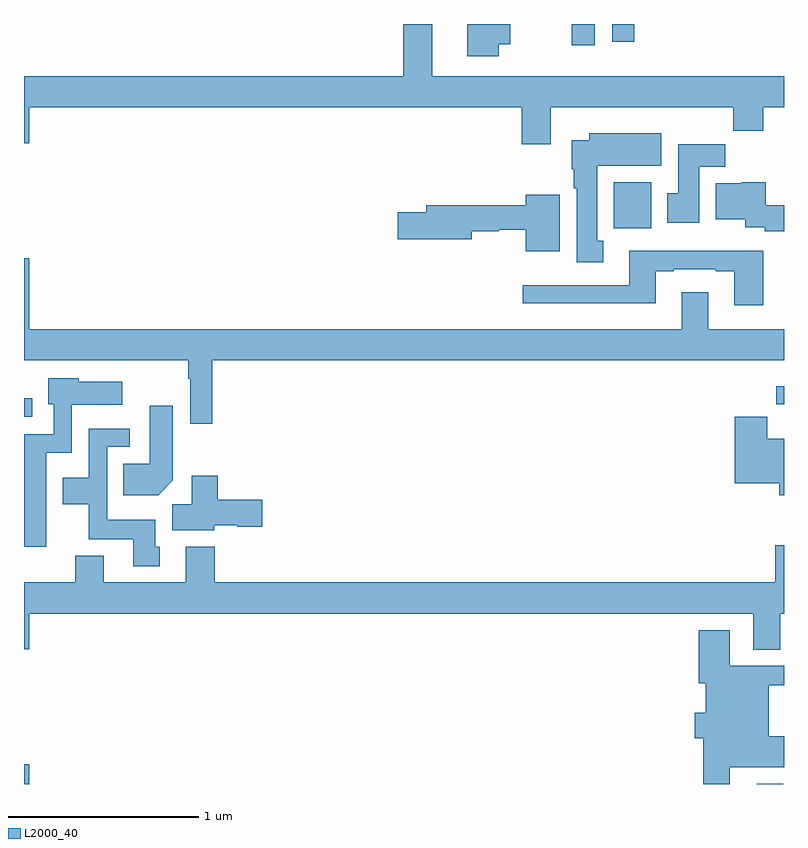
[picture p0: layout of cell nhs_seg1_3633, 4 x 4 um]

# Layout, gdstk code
import gdstk
lib = gdstk.Library(unit=1e-6, precision=1e-09)
def R(c, l, rs):  # rectangles x0, y0, x1, y1
    for r in rs: c.add(gdstk.rectangle(r[:2], r[2:], *l))
def P(c, l, *ps):  # polygons
    for p in ps: c.add(gdstk.Polygon(p, *l))
L2000_40 = (2000, 40)

nhs_seg1_3633 = lib.new_cell('nhs_seg1_3633')
R(nhs_seg1_3633, L2000_40, [(309,520.199,309.028,520.303), (312.857,520.199,312.997,520.201), (309,522.132,309.043,522.229), (312.96,522.197,313,522.292), (312.104,523.124,312.301,523.366), (311.882,524.088,312.004,524.199), (312.096,524.106,312.212,524.199)])
P(nhs_seg1_3633, L2000_40, [(311.773,523.76),(312.733,523.76),(312.733,523.636),(312.89,523.636),(312.89,523.76),(313,523.76),(313,523.924),(311.149,523.924),(311.149,524.199),(310.997,524.199),(310.997,523.924),(309,523.924),(309,523.572),(309.028,523.572),(309.028,523.76),(311.621,523.76),(311.621,523.566),(311.773,523.566)],
  [(311.499,524.093),(311.56,524.093),(311.56,524.199),(311.333,524.199),(311.333,524.028),(311.499,524.028)],
  [(312.049,523.058),(312.016,523.058),(312.016,523.454),(312.355,523.454),(312.355,523.624),(311.975,523.624),(311.975,523.588),(311.882,523.588),(311.882,523.434),(311.894,523.434),(311.894,523.334),(311.909,523.334),(311.909,522.945),(312.049,522.945)],
  [(312.553,523.448),(312.692,523.448),(312.692,523.566),(312.443,523.566),(312.443,523.308),(312.386,523.308),(312.386,523.152),(312.553,523.152)],
  [(313,523.244),(312.904,523.244),(312.904,523.366),(312.774,523.366),(312.774,523.36),(312.641,523.36),(312.641,523.172),(312.795,523.172),(312.795,523.128),(312.898,523.128),(312.898,523.108),(313,523.108)],
  [(311.821,523.3),(311.642,523.3),(311.642,523.244),(311.117,523.244),(311.117,523.208),(310.968,523.208),(310.968,523.066),(311.356,523.066),(311.356,523.108),(311.499,523.108),(311.499,523.116),(311.642,523.116),(311.642,523.004),(311.821,523.004)],
  [(312.89,523.006),(312.185,523.006),(312.185,522.825),(311.625,522.825),(311.625,522.728),(312.325,522.728),(312.325,522.897),(312.421,522.897),(312.421,522.909),(312.641,522.909),(312.641,522.897),(312.737,522.897),(312.737,522.72),(312.89,522.72)],
  [(309.992,522.428),(313,522.428),(313,522.592),(312.601,522.592),(312.601,522.787),(312.461,522.787),(312.461,522.592),(309.028,522.592),(309.028,522.967),(309,522.967),(309,522.428),(309.864,522.428),(309.864,522.332),(309.876,522.332),(309.876,522.096),(309.992,522.096)],
  [(309.118,521.942),(309.252,521.942),(309.252,522.194),(309.517,522.194),(309.517,522.316),(309.288,522.316),(309.288,522.334),(309.128,522.334),(309.128,522.198),(309.156,522.198),(309.156,522.039),(309,522.039),(309,521.448),(309.118,521.448)],
  [(309.784,521.798),(309.784,522.19),(309.662,522.19),(309.662,521.884),(309.523,521.884),(309.523,521.72),(309.706,521.72)],
  [(313,522.016),(312.913,522.016),(312.913,522.132),(312.74,522.132),(312.74,521.783),(312.974,521.783),(312.974,521.72),(313,521.72)],
  [(309.715,521.448),(309.691,521.448),(309.691,521.59),(309.438,521.59),(309.438,521.973),(309.556,521.973),(309.556,522.069),(309.342,522.069),(309.342,521.812),(309.203,521.812),(309.203,521.672),(309.34,521.672),(309.34,521.486),(309.575,521.486),(309.575,521.346),(309.715,521.346)],
  [(310.002,521.561),(310.122,521.561),(310.122,521.554),(310.255,521.554),(310.255,521.696),(310.019,521.696),(310.019,521.821),(309.884,521.821),(309.884,521.672),(309.779,521.672),(309.779,521.534),(310.002,521.534)],
  [(312.979,521.096),(313,521.096),(313,521.455),(312.953,521.455),(312.953,521.26),(310.004,521.26),(310.004,521.449),(309.851,521.449),(309.851,521.26),(309.421,521.26),(309.421,521.401),(309.269,521.401),(309.269,521.26),(309,521.26),(309,520.908),(309.028,520.908),(309.028,521.096),(312.839,521.096),(312.839,520.906),(312.979,520.906)],
  [(312.715,520.286),(313,520.286),(313,520.45),(312.919,520.45),(312.919,520.72),(313,520.72),(313,520.821),(312.715,520.821),(312.715,521.008),(312.551,521.008),(312.551,520.728),(312.587,520.728),(312.587,520.573),(312.53,520.573),(312.53,520.439),(312.575,520.439),(312.575,520.199),(312.715,520.199)])

lib.write_gds('nhs_seg1_3633.gds')
